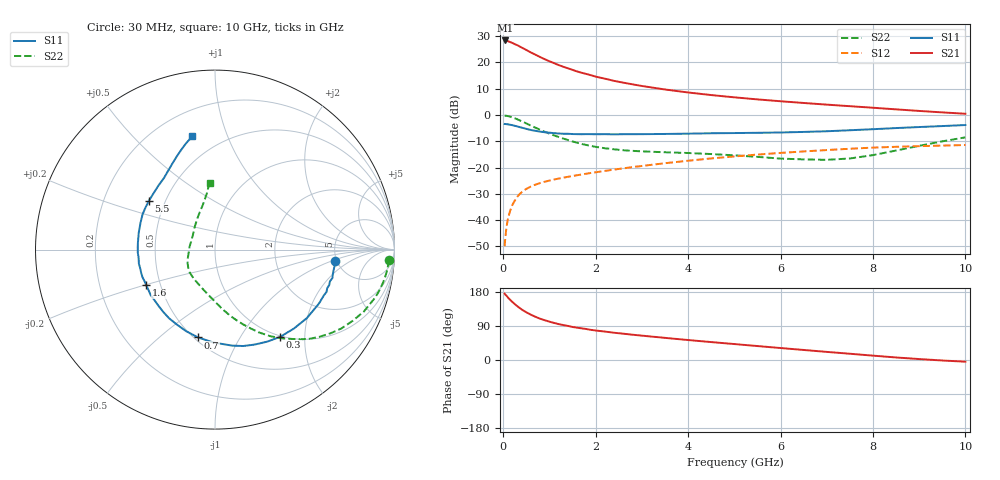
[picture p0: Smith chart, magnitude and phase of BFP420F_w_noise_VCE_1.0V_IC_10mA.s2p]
! Infineon Technologies  Discrete & RF Semiconductors
! BFP420F
! VCE =  1.0 V,  IC =  10 mA
! Common Emitter S-Parameters:  Sep 2011
# GHz  S  MA  R  50
!  f  S11  S21  S12  S22
! GHz  MAG  ANG  MAG  ANG  MAG  ANG  MAG  ANG
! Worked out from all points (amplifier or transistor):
!   54 points, 30 MHz to 10 GHz, reference 50 ohm
!   highest |S21| = 28.3 dB at 40 MHz (marker M1)
!   |S21| within 3 dB of that: start of sweep to 433.2 MHz
!   unconditionally stable (mu >= 1): 1.979 GHz to end of sweep
!   at 120 MHz: K = 0.15, MSG = 33.2 dB, |S12| = -38.3 dB
!   at 1.3 GHz: K = 0.77, MSG = 21.1 dB, |S12| = -23.8 dB
!   at 10 GHz: K = 1.27, MAG = 2.8 dB, |S12| = -11.4 dB
!   lowest NFmin = 1.18 dB at 450 MHz
!   S11 on the Smith chart (normalised r, x): 30 MHz: 4.84, -1.17; 300 MHz: 0.99, -1.52; 700 MHz: 0.52, -0.68; 1.6 GHz: 0.42, -0.20; 5.5 GHz: 0.41, +0.28; 10 GHz: 0.35, +0.76
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0.03  0.6742 -5.6  26.09 175.1  0.0032 88.2  0.9695 -3.5
0.04  0.6728 -7.5  26.1 173.7  0.0041 86.9  0.9691 -4.7
0.1  0.661 -19.1  25.41 165.2  0.0103 82.2  0.9516 -11.8
0.15  0.6511 -28.1  24.33 158.7  0.0151 78.1  0.9274 -17.3
0.2  0.6382 -36.8  23.34 153.0  0.0196 74.3  0.8983 -22.6
0.3  0.6068 -53.2  21.28 142.4  0.0275 68.2  0.8307 -31.9
0.4  0.5733 -67.4  19.11 133.4  0.034 63.3  0.7585 -39.8
0.5  0.5437 -79.8  17.17 125.9  0.0393 59.5  0.6895 -46.5
0.6  0.5175 -91.1  15.4 119.4  0.0437 56.5  0.6257 -52.4
0.7  0.4984 -100.9  13.95 113.8  0.0475 54.3  0.572 -57.5
0.8  0.4821 -109.5  12.61 108.8  0.0508 52.8  0.5219 -62.1
0.9  0.4685 -117.0  11.45 104.9  0.0538 51.7  0.4785 -66.0
1.1  0.451 -129.9  9.662 97.8  0.0592 50.2  0.4081 -73.4
1.3  0.4395 -140.2  8.255 92.2  0.0642 49.6  0.3555 -79.8
1.6  0.4315 -152.7  6.708 85.2  0.0715 49.2  0.2966 -89.0
1.7  0.4303 -156.0  6.337 83.5  0.0739 49.2  0.2806 -91.8
2.4  0.428 -174.1  4.446 71.9  0.0915 48.8  0.2221 -110.8
3.5  0.4353 167.3  3.05 58.4  0.1209 46.8  0.1952 -131.3
5.5  0.4579 143.5  1.977 36.8  0.1765 37.8  0.1597 -161.9
7  0.4901 125.4  1.572 21.4  0.2151 29.0  0.1403 159.9
8.5  0.5634 112.0  1.278 6.7  0.248 18.7  0.2105 116.2
10  0.6434 101.3  1.054 -4.5  0.2682 10.1  0.375 94.6
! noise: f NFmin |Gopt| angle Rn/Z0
0.45  1.18  0.02  48  0.13
0.9  1.19  0.06  87  0.14
1.9  1.33  0.14  155  0.27
2.4  1.39  0.15  158  0.17
3.5  1.66  0.2  179  0.18
